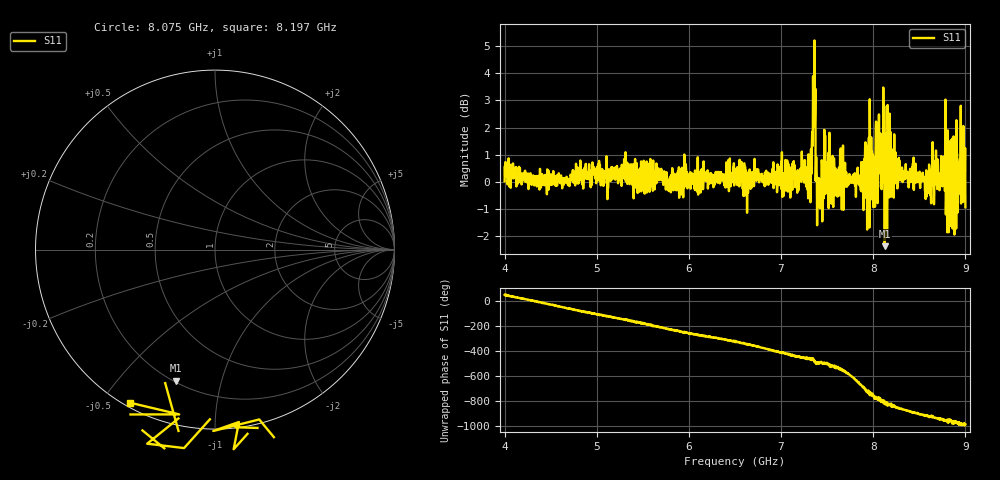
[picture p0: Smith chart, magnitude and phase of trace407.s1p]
! Created with skrf 1.8.0 (http://scikit-rf.org).
# Hz S RI R 50.0
!freq ReS11 ImS11
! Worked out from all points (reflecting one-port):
!   1601 points, 4 GHz to 9 GHz, reference 50 ohm
!   lowest |S11| = -2.4 dB at 8.125 GHz (marker M1), VSWR 7.40, Z = 10.4 - j36.2 ohm
!   phase of S11 starts at 52 deg and turns -1043 deg over the sweep
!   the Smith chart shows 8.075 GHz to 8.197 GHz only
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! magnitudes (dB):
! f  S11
! 4 GHz  0.0
! 4.625 GHz  -0.2
! 5.25 GHz  0.1
! 5.875 GHz  0.1
! 6.5 GHz  0.4
! 6.656 GHz  -0.2
! 6.734 GHz  0.5
! 7.125 GHz  0.7
! 7.294 GHz  -0.6
! 7.319 GHz  -0.7
! 7.347 GHz  3.9
! 7.372 GHz  3.4
! 7.4 GHz  -0.4
! 7.412 GHz  0.1
! 7.503 GHz  0.0
! 7.75 GHz  0.1
! 7.875 GHz  -0.3
! 7.962 GHz  3.0
! 7.997 GHz  0.6
! 8.053 GHz  0.8
! 8.066 GHz  0.7
! 8.125 GHz  -2.4
! 8.375 GHz  0.3
! 8.606 GHz  0.6
! 8.759 GHz  -0.1
! 8.875 GHz  0.3
! 8.972 GHz  0.6
! 9 GHz  -0.9
